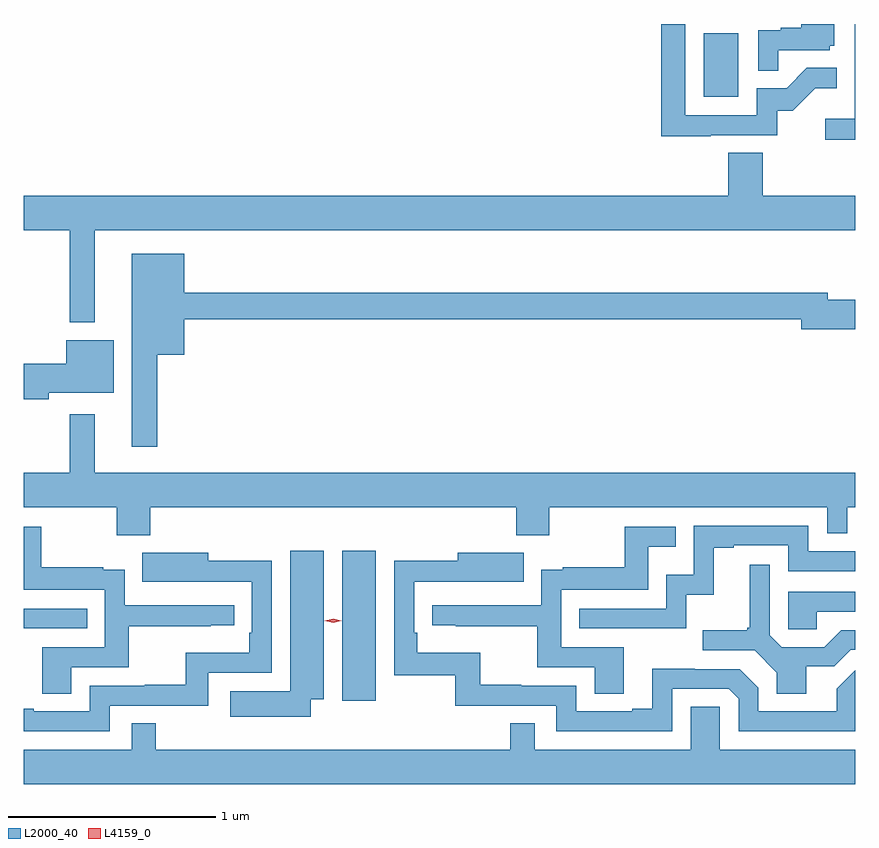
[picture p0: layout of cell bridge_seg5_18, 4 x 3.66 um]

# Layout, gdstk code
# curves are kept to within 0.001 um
import gdstk
lib = gdstk.Library(unit=1e-6, precision=1e-09)
def R(c, l, rs):  # rectangles x0, y0, x1, y1
    for r in rs: c.add(gdstk.rectangle(r[:2], r[2:], *l))
def P(c, l, *ps):  # polygons
    for p in ps: c.add(gdstk.Polygon(p, *l))
L2000_40 = (2000, 40)
L4159_0 = (4159, 0)

bridge_seg5_18 = lib.new_cell('bridge_seg5_18')
R(bridge_seg5_18, L2000_40, [(972.548,863.82,972.709,864.541), (971.016,864.168,971.321,864.264), (974.288,866.724,974.452,867.031)])
P(bridge_seg5_18, L2000_40, [(975.016,867.075),(975.012,867.075),(975.012,866.62),(974.871,866.62),(974.871,866.518),(975.016,866.518)],
  [(974.321,866.541),(974.64,866.541),(974.64,866.658),(974.716,866.658),(974.823,866.765),(974.927,866.765),(974.927,866.864),(974.783,866.864),(974.685,866.766),(974.541,866.766),(974.541,866.637),(974.199,866.637),(974.199,867.075),(974.083,867.075),(974.083,866.536),(974.321,866.536)],
  [(974.645,866.949),(974.892,866.949),(974.892,866.97),(974.914,866.97),(974.914,867.075),(974.756,867.075),(974.756,867.058),(974.657,867.058),(974.657,867.045),(974.55,867.045),(974.55,866.851),(974.645,866.851)],
  [(971.359,866.084),(975.016,866.084),(975.016,866.248),(974.57,866.248),(974.57,866.456),(974.405,866.456),(974.405,866.248),(971.016,866.248),(971.016,866.084),(971.238,866.084),(971.238,865.64),(971.359,865.64)],
  [(971.659,865.484),(971.788,865.484),(971.788,865.654),(974.756,865.654),(974.756,865.607),(975.016,865.607),(975.016,865.749),(974.884,865.749),(974.884,865.783),(971.788,865.783),(971.788,865.969),(971.537,865.969),(971.537,865.041),(971.659,865.041)],
  [(971.136,865.301),(971.449,865.301),(971.449,865.555),(971.222,865.555),(971.222,865.442),(971.016,865.442),(971.016,865.27),(971.136,865.27)],
  [(971.624,864.752),(973.385,864.752),(973.385,864.617),(973.545,864.617),(973.545,864.752),(974.88,864.752),(974.88,864.625),(974.976,864.625),(974.976,864.752),(975.016,864.752),(975.016,864.916),(971.359,864.916),(971.359,865.198),(971.238,865.198),(971.238,864.916),(971.016,864.916),(971.016,864.752),(971.464,864.752),(971.464,864.617),(971.624,864.617)],
  [(974.202,864.329),(974.335,864.329),(974.335,864.555),(974.431,864.555),(974.431,864.567),(974.694,864.567),(974.694,864.444),(975.016,864.444),(975.016,864.54),(974.79,864.54),(974.79,864.663),(974.238,864.663),(974.238,864.427),(974.106,864.427),(974.106,864.264),(973.687,864.264),(973.687,864.168),(974.202,864.168)],
  [(971.245,863.982),(971.522,863.982),(971.522,864.178),(971.915,864.178),(971.915,864.183),(972.028,864.183),(972.028,864.279),(971.502,864.279),(971.502,864.451),(971.399,864.451),(971.399,864.463),(971.101,864.463),(971.101,864.657),(971.016,864.657),(971.016,864.354),(971.406,864.354),(971.406,864.078),(971.105,864.078),(971.105,863.854),(971.245,863.854)],
  [(973.903,864.078),(973.602,864.078),(973.602,864.354),(974.019,864.354),(974.019,864.56),(974.153,864.56),(974.153,864.657),(973.908,864.657),(973.908,864.463),(973.609,864.463),(973.609,864.451),(973.506,864.451),(973.506,864.279),(972.981,864.279),(972.981,864.183),(973.093,864.183),(973.093,864.178),(973.486,864.178),(973.486,863.982),(973.763,863.982),(973.763,863.854),(973.903,863.854)],
  [(972.396,863.828),(972.46,863.828),(972.46,864.541),(972.299,864.541),(972.299,863.866),(972.009,863.866),(972.009,863.744),(972.396,863.744)],
  [(974.136,863.877),(974.406,863.877),(974.454,863.829),(974.454,863.673),(975.016,863.673),(975.016,863.968),(974.927,863.879),(974.927,863.769),(974.55,863.769),(974.55,863.883),(974.46,863.973),(974.244,863.973),(974.244,863.975),(974.039,863.975),(974.039,863.782),(973.943,863.782),(973.943,863.769),(973.674,863.769),(973.674,863.892),(973.409,863.892),(973.409,863.897),(973.213,863.897),(973.213,864.052),(972.908,864.052),(972.908,864.148),(972.894,864.148),(972.894,864.393),(973.421,864.392),(973.421,864.532),(973.103,864.532),(973.103,864.494),(972.798,864.494),(972.798,863.943),(973.092,863.943),(973.092,863.796),(973.578,863.796),(973.578,863.673),(974.136,863.673)],
  [(971.43,863.796),(971.904,863.796),(971.904,863.955),(972.21,863.955),(972.21,864.494),(971.905,864.494),(971.905,864.532),(971.587,864.532),(971.587,864.392),(971.801,864.392),(971.801,864.393),(972.114,864.393),(972.114,864.148),(972.101,864.148),(972.101,864.052),(971.796,864.052),(971.796,863.897),(971.599,863.897),(971.599,863.892),(971.334,863.892),(971.334,863.769),(971.065,863.769),(971.065,863.782),(971.016,863.782),(971.016,863.673),(971.43,863.673)],
  [(974.779,863.986),(974.914,863.986),(974.994,864.066),(975.016,864.066),(975.016,864.159),(974.948,864.159),(974.867,864.078),(974.661,864.078),(974.604,864.135),(974.604,864.475),(974.507,864.475),(974.507,864.172),(974.496,864.172),(974.496,864.16),(974.283,864.16),(974.283,864.063),(974.532,864.063),(974.639,863.956),(974.639,863.854),(974.779,863.854)],
  [(974.831,864.249),(975.016,864.249),(975.016,864.345),(974.694,864.345),(974.694,864.165),(974.831,864.165)],
  [(975.016,863.584),(974.364,863.584),(974.364,863.792),(974.225,863.792),(974.225,863.584),(973.473,863.584),(973.473,863.711),(973.357,863.711),(973.357,863.584),(971.651,863.584),(971.651,863.711),(971.535,863.711),(971.535,863.584),(971.016,863.584),(971.016,863.42),(975.016,863.42)])
P(bridge_seg5_18, L4159_0, [(972.504,864.195),(972.464,864.205),(972.464,864.205),(972.464,864.205),(972.504,864.215),(972.544,864.205),(972.544,864.205),(972.544,864.205)])

lib.write_gds('bridge_seg5_18.gds')
